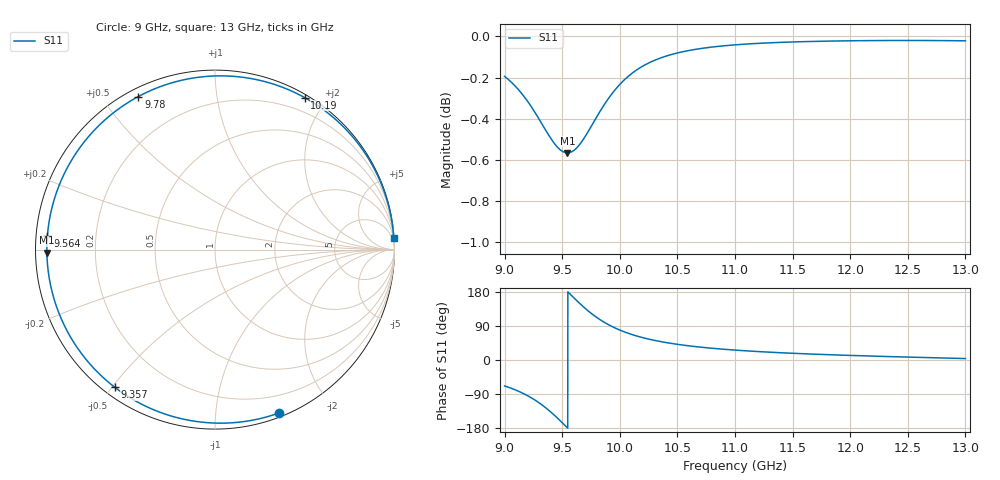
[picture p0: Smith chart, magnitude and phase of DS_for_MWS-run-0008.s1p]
! TOUCHSTONE file generated by CST DESIGN STUDIO
! Date and time: Tue Feb  4 13:10:30 2025
! Project name: C:\Work\MatlabApps\UnitCellOptimizationMatlab\CST\unitcell.cst
! Tree item: Tasks\Sweep1\SPara1\S-Parameters
! Header version: 2024
! Port assignment regex: !\s*Touchstone port\s*([0-9]+)\s*=\s*(CST MWS port|CST DES external port|CST DES block port)\s*(.+)\s* \(\"(.*)\"\)(\s*mode\s*([0-9]+))?.*
! Touchstone port assignment:
! Touchstone port 1 = CST DES external port 1 ("")
# GHz S MA R 50
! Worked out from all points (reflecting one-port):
!   4001 points, 9 GHz to 13 GHz, reference 50 ohm
!   lowest |S11| = -0.6 dB at 9.545 GHz (marker M1), VSWR 30.69, Z = 1.63 - j0.444 ohm
!   phase of S11 starts at -68 deg and turns -288 deg over the sweep
!   S11 on the Smith chart (normalised r, x): 9 GHz: 0.04, -1.47; 9.357 GHz: 0.03, -0.51; 9.564 GHz: 0.03, +0.04; 9.78 GHz: 0.03, +0.62; 10.19 GHz: 0.03, +1.75; 13 GHz: 1, +30
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9  0.9779 -68.4
9.102  0.9719 -80.0
9.212  0.9632 -96.3
9.288  0.9559 -110.6
9.357  0.9488 -126.1
9.425  0.9424 -143.7
9.464  0.9395 -154.7
9.5  0.9377 -165.4
9.545  0.9369 -179.0
9.564  0.937 175.2
9.618  0.939 159.0
9.678  0.9435 141.9
9.729  0.9485 128.6
9.78  0.9539 116.6
9.827  0.9588 106.7
9.877  0.9636 97.4
9.934  0.9686 88.1
10  0.9735 79.0
10.092  0.9789 68.5
10.193  0.9833 59.4
10.333  0.9875 49.8
10.5  0.9908 41.3
10.721  0.9934 33.3
11  0.9953 26.1
11.5  0.9969 17.7
12  0.9975 12.1
12.5  0.9977 7.7
13  0.9975 3.8
